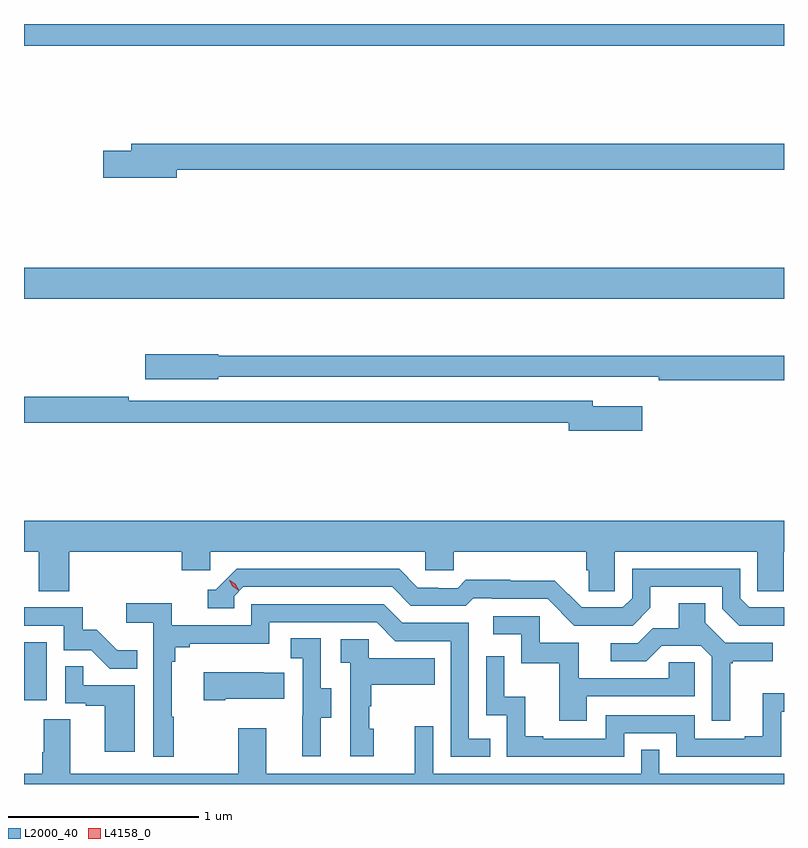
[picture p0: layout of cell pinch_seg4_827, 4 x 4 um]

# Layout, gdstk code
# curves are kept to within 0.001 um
import gdstk
lib = gdstk.Library(unit=1e-6, precision=1e-09)
def R(c, l, rs):  # rectangles x0, y0, x1, y1
    for r in rs: c.add(gdstk.rectangle(r[:2], r[2:], *l))
def P(c, l, *ps):  # polygons
    for p in ps: c.add(gdstk.Polygon(p, *l))
L2000_40 = (2000, 40)
L4158_0 = (4158, 0)

pinch_seg4_827 = lib.new_cell('pinch_seg4_827')
R(pinch_seg4_827, L2000_40, [(850.456,809.358,850.576,809.665), (850.456,811.472,854.456,811.636), (850.456,812.804,854.456,812.918)])
P(pinch_seg4_827, L2000_40, [(851.26,812.152),(854.456,812.152),(854.456,812.288),(851.021,812.288),(851.021,812.252),(850.872,812.252),(850.872,812.11),(851.26,812.11)],
  [(854.456,811.171),(851.478,811.171),(851.478,811.179),(851.094,811.179),(851.094,811.049),(851.478,811.049),(851.478,811.062),(853.546,811.062),(853.546,811.061),(853.798,811.061),(853.798,811.042),(854.456,811.042)],
  [(853.711,810.907),(853.45,810.907),(853.45,810.936),(851.006,810.936),(851.006,810.956),(850.456,810.956),(850.456,810.82),(853.322,810.82),(853.322,810.778),(853.711,810.778)],
  [(850.456,810.14),(850.534,810.14),(850.534,809.932),(850.694,809.932),(850.694,810.14),(851.285,810.14),(851.285,810.042),(851.436,810.042),(851.436,810.14),(852.567,810.14),(852.567,810.042),(852.717,810.042),(852.717,810.14),(853.415,810.14),(853.415,810.042),(853.429,810.042),(853.429,809.932),(853.566,809.932),(853.566,810.14),(854.316,810.14),(854.316,809.932),(854.455,809.932),(854.455,810.14),(854.456,810.14),(854.456,810.304),(850.456,810.304)],
  [(854.456,809.847),(854.274,809.847),(854.226,809.895),(854.226,810.051),(853.656,810.051),(853.656,809.895),(853.608,809.847),(853.392,809.847),(853.25,809.989),(853.014,809.989),(853.014,809.992),(852.781,809.992),(852.739,809.949),(852.636,809.949),(852.636,809.952),(852.529,809.952),(852.43,810.051),(851.577,810.051),(851.466,809.94),(851.423,809.94),(851.423,809.844),(851.562,809.844),(851.562,809.907),(851.61,809.955),(852.393,809.955),(852.492,809.856),(852.781,809.856),(852.82,809.895),(852.919,809.895),(852.919,809.892),(853.212,809.892),(853.353,809.751),(853.659,809.751),(853.753,809.845),(853.753,809.955),(854.13,809.955),(854.13,809.841),(854.22,809.751),(854.456,809.75)],
  [(851.245,809.273),(851.233,809.273),(851.233,809.561),(851.252,809.561),(851.252,809.638),(851.329,809.638),(851.329,809.657),(851.748,809.657),(851.748,809.769),(852.312,809.769),(852.411,809.67),(852.702,809.67),(852.702,809.061),(852.911,809.061),(852.911,809.157),(852.798,809.157),(852.798,809.766),(852.448,809.766),(852.349,809.865),(851.652,809.865),(851.652,809.754),(851.234,809.754),(851.234,809.87),(850.995,809.87),(850.995,809.768),(851.136,809.768),(851.136,809.061),(851.245,809.061)],
  [(854.173,809.553),(854.185,809.553),(854.185,809.564),(854.398,809.564),(854.398,809.661),(854.148,809.661),(854.041,809.768),(854.041,809.87),(853.901,809.87),(853.901,809.738),(853.766,809.738),(853.686,809.658),(853.545,809.658),(853.545,809.565),(853.732,809.565),(853.813,809.646),(854.019,809.646),(854.076,809.589),(854.076,809.25),(854.173,809.25)],
  [(851.051,809.623),(850.947,809.623),(850.84,809.73),(850.764,809.73),(850.764,809.847),(850.456,809.847),(850.456,809.751),(850.665,809.751),(850.665,809.622),(850.809,809.622),(850.907,809.524),(851.051,809.524)],
  [(853.417,809.379),(853.986,809.379),(853.986,809.559),(853.849,809.559),(853.849,809.475),(853.375,809.475),(853.375,809.661),(853.17,809.661),(853.17,809.802),(852.927,809.802),(852.927,809.706),(853.074,809.706),(853.074,809.553),(853.273,809.553),(853.273,809.25),(853.417,809.25)],
  [(852.019,809.266),(852.073,809.266),(852.073,809.421),(852.018,809.421),(852.018,809.684),(851.859,809.684),(851.859,809.581),(851.922,809.581),(851.922,809.277),(851.921,809.277),(851.921,809.064),(852.019,809.064)],
  [(852.298,809.208),(852.273,809.208),(852.273,809.327),(852.283,809.327),(852.283,809.441),(852.617,809.441),(852.617,809.581),(852.27,809.581),(852.27,809.679),(852.123,809.679),(852.123,809.555),(852.174,809.555),(852.174,809.064),(852.298,809.064)],
  [(853.614,809.184),(853.89,809.184),(853.89,809.061),(854.442,809.061),(854.442,809.297),(854.456,809.297),(854.456,809.395),(854.345,809.395),(854.345,809.17),(854.249,809.17),(854.249,809.157),(853.986,809.157),(853.986,809.28),(853.518,809.28),(853.518,809.157),(853.189,809.157),(853.189,809.17),(853.094,809.17),(853.094,809.378),(852.984,809.378),(852.984,809.59),(852.888,809.59),(852.888,809.28),(852.996,809.28),(852.996,809.061),(853.614,809.061)],
  [(851.038,809.439),(850.769,809.439),(850.769,809.537),(850.674,809.537),(850.674,809.343),(850.781,809.343),(850.781,809.331),(850.88,809.331),(850.88,809.088),(851.038,809.088)],
  [(851.515,809.366),(851.825,809.366),(851.825,809.503),(851.717,809.503),(851.717,809.506),(851.403,809.506),(851.403,809.359),(851.515,809.359)],
  [(854.456,808.972),(853.8,808.972),(853.8,809.099),(853.704,809.099),(853.704,808.972),(852.609,808.972),(852.609,809.221),(852.512,809.221),(852.512,808.972),(851.731,808.972),(851.731,809.212),(851.584,809.212),(851.584,808.972),(850.699,808.972),(850.699,809.258),(850.559,809.258),(850.559,809.084),(850.552,809.084),(850.552,808.972),(850.456,808.972),(850.456,808.918),(854.456,808.918)])
P(pinch_seg4_827, L4158_0, [(851.584,809.939),(851.553,809.959),(851.537,809.992),(851.537,809.992),(851.537,809.992),(851.568,809.972),(851.585,809.94),(851.585,809.939)])

lib.write_gds('pinch_seg4_827.gds')
